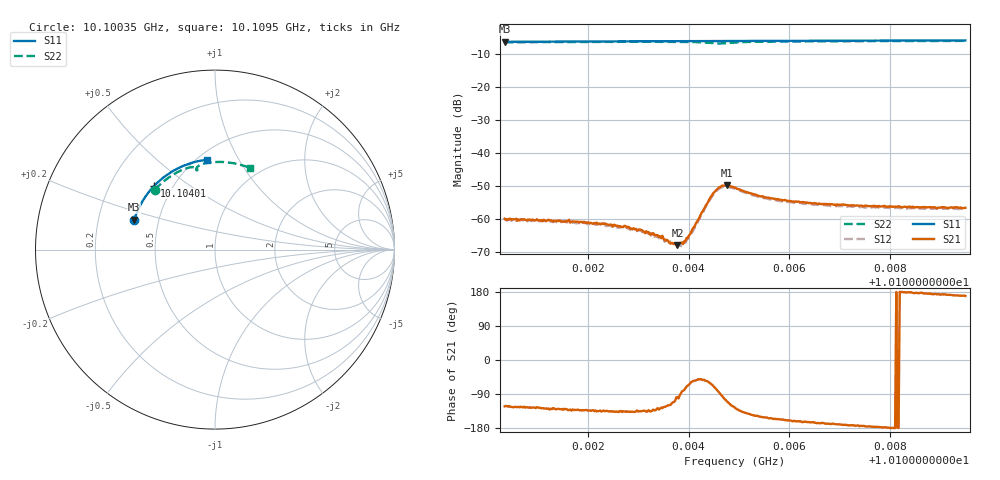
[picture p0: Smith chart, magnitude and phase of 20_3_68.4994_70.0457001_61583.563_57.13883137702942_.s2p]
#  HZ  S  RI  R  50.00
! Rohde & Schwarz Vector Network Analyzer
! Rohde-Schwarz,ZNB20-2Port,1311601062101988,3.16
! Created: UTC 3/20/2024, 5:04:39 PM
! freq[Hz]  re:S11  im:S11  re:S21  im:S21  re:S12  im:S12  re:S22  im:S22
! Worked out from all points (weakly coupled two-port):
!   401 points, 10.10035 GHz to 10.1095 GHz, reference 50 ohm
!   highest |S21| = -49.83 dB at 10.10476 GHz (marker M1); lowest = -67.9 dB at 10.10378 GHz (marker M2)
!   lowest |S11| = -6.4 dB at 10.10035 GHz (marker M3), VSWR 2.84, Z = 18.1 + j7.79 ohm
!   |S11| at or under -10 dB: nowhere
!   |S22| runs from -6.9 to -6.1 dB; largest |S21 - S12| = 0.00035
!   S11 on the Smith chart (normalised r, x): 10.10035 GHz: 0.36, +0.16; 10.10401 GHz: 0.40, +0.37; 10.1095 GHz: 0.56, +0.74
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1.0100349e10  -0.4498 0.166  -0.00054 -0.000854  -0.000454 -0.000862  -0.3355 0.3322
1.0101881e10  -0.4139 0.2519  -0.000622 -0.000659  -0.00053 -0.000672  -0.2619 0.3985
1.0102247e10  -0.4029 0.2711  -0.000582 -0.000617  -0.000534 -0.000632  -0.2421 0.4119
1.0102773e10  -0.3856 0.298  -0.000532 -0.000525  -0.000488 -0.000544  -0.2123 0.4296
1.0103048e10  -0.3758 0.3116  -0.000488 -0.000485  -0.000461 -0.0005  -0.1959 0.438
1.0103414e10  -0.362 0.329  -0.00035 -0.000404  -0.000291 -0.00042  -0.1729 0.4479
1.0103665e10  -0.3521 0.3407  -0.000183 -0.000393  -0.000121 -0.000418  -0.1562 0.4537
1.0103779e10  -0.3476 0.3457  -5.58e-05 -0.0004  -6.02e-05 -0.000384  -0.1482 0.4558
1.0103894e10  -0.3429 0.3509  6.45e-05 -0.000415  0.000105 -0.000396  -0.1398 0.4579
1.010394e10  -0.3409 0.3529  0.000125 -0.000445  0.000167 -0.000402  -0.1363 0.4584
1.0104008e10  -0.338 0.3561  0.000236 -0.000509  0.000267 -0.000474  -0.1311 0.4589
1.0104122e10  -0.3331 0.3609  0.000453 -0.000635  0.000495 -0.000546  -0.1219 0.4594
1.0104351e10  -0.3232 0.3706  0.000939 -0.00134  0.00102 -0.00121  -0.1042 0.4546
1.0104488e10  -0.317 0.3762  0.000916 -0.00226  0.00104 -0.00206  -0.098 0.4468
1.0104626e10  -0.311 0.3817  6.31e-05 -0.00303  0.000318 -0.00291  -0.1005 0.4415
1.0104763e10  -0.3049 0.3873  -0.00106 -0.00305  -0.00075 -0.00299  -0.1047 0.446
1.0104923e10  -0.2975 0.3934  -0.00176 -0.00242  -0.00147 -0.00245  -0.1016 0.4569
1.010522e10  -0.2835 0.4048  -0.00197 -0.00149  -0.00177 -0.00155  -0.0832 0.4712
1.010554e10  -0.2678 0.4162  -0.00187 -0.00101  -0.00173 -0.00111  -0.061 0.4792
1.0106455e10  -0.2207 0.4455  -0.00166 -0.00046  -0.00158 -0.000573  0.000565 0.4879
1.0107987e10  -0.1355 0.4815  -0.00157 -3.41e-05  -0.00147 -0.000174  0.0994 0.4821
1.0109497e10  -0.0463 0.5007  -0.00145 0.000282  -0.00141 0.000117  0.1923 0.4562
